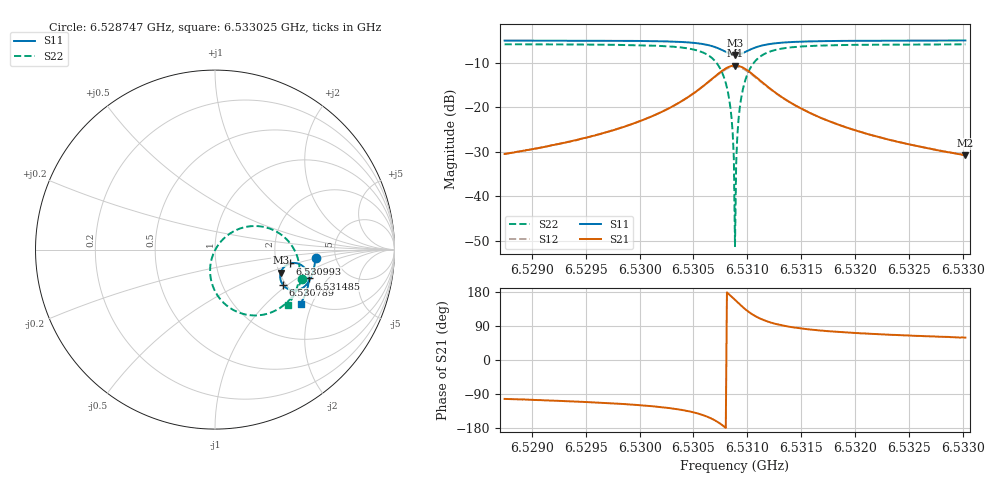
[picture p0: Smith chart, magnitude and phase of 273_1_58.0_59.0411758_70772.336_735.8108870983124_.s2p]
#  HZ  S  RI  R  50.00
! Rohde & Schwarz Vector Network Analyzer
! Rohde-Schwarz,ZNB20-2Port,1311601062101988,3.16
! Created: UTC 3/21/2024, 1:02:27 AM
! freq[Hz]  re:S11  im:S11  re:S21  im:S21  re:S12  im:S12  re:S22  im:S22
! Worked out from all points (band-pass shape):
!   401 points, 6.528747 GHz to 6.533025 GHz, reference 50 ohm
!   highest |S21| = -10.60 dB at 6.530886 GHz (marker M1); lowest = -30.7 dB at 6.533025 GHz (marker M2)
!   |S21| within 3 dB of the highest: 6.530672 GHz to 6.5311 GHz (427.8 kHz wide, 0.00655 % of centre)
!   lowest |S11| = -8.2 dB at 6.530886 GHz (marker M3), VSWR 2.27, Z = 101 - j30.9 ohm
!   |S11| at or under -10 dB: nowhere
!   |S22| runs from -51.2 to -5.8 dB; largest |S21 - S12| = 0.011
!   S11 on the Smith chart (normalised r, x): 6.528747 GHz: 3.50, -0.47; 6.530789 GHz: 1.93, -0.92; 6.530993 GHz: 2.38, -0.45; 6.531485 GHz: 2.76, -1.26; 6.533025 GHz: 1.87, -1.65
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6.5287466e9  0.5602 -0.046  -0.00659 -0.0292  -0.00709 -0.0293  0.4843 -0.162
6.5294632e9  0.5511 -0.1053  -0.0154 -0.0418  -0.0165 -0.0413  0.4543 -0.2265
6.5301798e9  0.5243 -0.1757  -0.048 -0.0716  -0.0499 -0.0703  0.3751 -0.316
6.5306076e9  0.4559 -0.226  -0.1516 -0.0971  -0.1539 -0.091  0.176 -0.3626
6.5307146e9  0.4125 -0.2219  -0.2188 -0.0719  -0.2181 -0.0627  0.0628 -0.3095
6.5307895e9  0.3783 -0.196  -0.2683 -0.0155  -0.2629 -0.00615  -0.011 -0.2064
6.5308215e9  0.3679 -0.1767  -0.2816 0.0216  -0.274 0.0299  -0.0263 -0.1427
6.5308429e9  0.3639 -0.1616  -0.2848 0.0496  -0.2759 0.0567  -0.0266 -0.0959
6.5308536e9  0.3632 -0.1536  -0.2844 0.0644  -0.275 0.0706  -0.0233 -0.0721
6.5308643e9  0.3633 -0.1454  -0.2828 0.079  -0.2729 0.0844  -0.0178 -0.0483
6.530875e9  0.3643 -0.1373  -0.2792 0.0937  -0.2692 0.0982  -0.00979 -0.0251
6.5308857e9  0.3662 -0.1292  -0.2746 0.1079  -0.2643 0.1116  0.000614 -0.0027
6.5309071e9  0.3723 -0.114  -0.261 0.1348  -0.2508 0.1366  0.0275 0.0386
6.5309178e9  0.3767 -0.107  -0.2524 0.147  -0.2424 0.1478  0.0438 0.057
6.5309392e9  0.3872 -0.0949  -0.2324 0.1677  -0.2229 0.1673  0.0803 0.0874
6.5309927e9  0.4189 -0.077  -0.1743 0.1989  -0.1676 0.1962  0.181 0.1281
6.5310569e9  0.4552 -0.0757  -0.1107 0.2028  -0.107 0.1998  0.2878 0.1224
6.5311531e9  0.4912 -0.0938  -0.0484 0.1783  -0.0466 0.1765  0.3889 0.0668
6.5314847e9  0.522 -0.1604  0.0108 0.0987  0.0118 0.0982  0.4708 -0.0987
6.5316023e9  0.5221 -0.1773  0.0147 0.0831  0.0158 0.0826  0.4717 -0.1331
6.5323189e9  0.5032 -0.2496  0.0171 0.0397  0.0178 0.0395  0.4428 -0.2472
6.5330249e9  0.4764 -0.302  0.0149 0.025  0.0155 0.0247  0.4074 -0.3072
